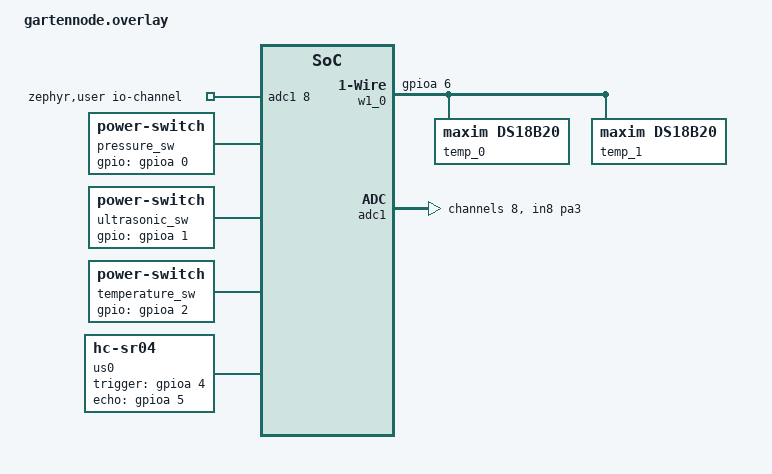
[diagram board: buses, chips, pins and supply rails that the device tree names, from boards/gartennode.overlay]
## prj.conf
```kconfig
# Print a banner on the UART on startup.
CONFIG_BOOT_BANNER=y

CONFIG_LOG=y
CONFIG_LOG_BACKEND_UART=y
CONFIG_CANOPEN_LOG_LEVEL_DBG=y
CONFIG_MULTITHREADING=y

CONFIG_GPIO=y
CONFIG_ADC=y
CONFIG_SENSOR=y
CONFIG_W1=y
CONFIG_HC_SR04=y

CONFIG_CAN=y
#CONFIG_CAN_MAX_FILTER=13

CONFIG_MAIN_STACK_SIZE=2048

CONFIG_CANOPEN=y
CONFIG_CANOPENNODE=y
CONFIG_CANOPENNODE_SYNC_THREAD=y
CONFIG_CANOPENNODE_STORAGE=y
CONFIG_CANOPENNODE_LEDS=y
CONFIG_CANOPENNODE_PROGRAM_DOWNLOAD=y
CONFIG_CANOPEN_NODE_ID=12

CONFIG_LOG_PRINTK=y
CONFIG_REBOOT=y
CONFIG_UART_CONSOLE=y
CONFIG_SERIAL=y
CONFIG_CONSOLE=y
# Enable Zephyr application to be booted by MCUboot
CONFIG_BOOTLOADER_MCUBOOT=y

# Use the default MCUBoot PEM key file (BOOT_SIGNATURE_KEY_FILE)
CONFIG_MCUBOOT_SIGNATURE_KEY_FILE="bootloader/mcuboot/gartennode.pem"
```

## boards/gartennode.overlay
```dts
/*
 * Copyright (c) 2022 Google LLC.
 *
 * SPDX-License-Identifier: Apache-2.0
 */

/ {
	zephyr,user {
		io-channels = <&adc1 8>;
	};

	pressure_sw: pressure_sw {
		compatible = "power-switch";
		/* using built-in LED pin for demonstration */
		gpios = <&gpioa 0 (GPIO_PULL_DOWN | GPIO_ACTIVE_HIGH)>;
        status = "okay";
	};

	ultrasonic_sw: ultrasonic_sw {
		compatible = "power-switch";
		/* using built-in LED pin for demonstration */
		gpios = <&gpioa 1 (GPIO_PULL_DOWN | GPIO_ACTIVE_HIGH)>;
        status = "okay";
	};

	temperature_sw: temperature_sw {
		compatible = "power-switch";
		/* using built-in LED pin for demonstration */
		gpios = <&gpioa 2 (GPIO_PULL_DOWN | GPIO_ACTIVE_HIGH)>;
        status = "okay";
	};

	aliases {
		green-led = &green_led;
	};
    us0: HC-SR04 {
        compatible = "hc-sr04";
        trigger-gpios = <&gpioa 4 GPIO_ACTIVE_HIGH>;
        echo-gpios = <&gpioa 5 (GPIO_PULL_DOWN | GPIO_ACTIVE_HIGH)>;
        status = "okay";
    };
	w1_0: w1-zephyr-gpio-0 {
		compatible = "zephyr,w1-gpio";
		gpios = <&gpioa 6 (GPIO_ACTIVE_HIGH|GPIO_OPEN_DRAIN|GPIO_PULL_UP)>;
		status = "okay";

		temp_0: ds18b200 {
			compatible = "maxim,ds18b20";
			family-code = <0x28>;
			resolution = <12>;
			status = "okay";
		};
		temp_1: ds18b201 {
			compatible = "maxim,ds18b20";
			family-code = <0x28>;
			resolution = <12>;
			status = "okay";
		};
	};
};

&adc1 {
	#address-cells = <1>;
	#size-cells = <0>;

	/* pinctrl-0 = <&adc1_in5_pa0 &adc1_in6_pa1 &adc1_in7_pa2 &adc1_in8_pa3 &adc1_in9_pa4 &adc1_in10_pa5 &adc1_in11_pa6 &adc1_in12_pa7>; */
	pinctrl-0 = <&adc1_in8_pa3>;
	pinctrl-names = "default";
	st,adc-clock-source = "SYNC";
	st,adc-prescaler = <4>;
	status = "okay";

	channel@8 {
		reg = <8>;
		zephyr,gain = "ADC_GAIN_1";
		zephyr,reference = "ADC_REF_INTERNAL";
		zephyr,acquisition-time = <ADC_ACQ_TIME_DEFAULT>;
		zephyr,resolution = <12>;
	};
};
```

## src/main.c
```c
/*
 * Copyright (c) 2019 Vestas Wind Systems A/S
 *
 * SPDX-License-Identifier: Apache-2.0
 */

#include <zephyr/kernel.h>
#include <zephyr/drivers/gpio.h>
#include <zephyr/sys/reboot.h>
#include <zephyr/drivers/adc.h>
#include <zephyr/settings/settings.h>
#include <zephyr/drivers/sensor.h>
#include <zephyr/drivers/sensor/w1_sensor.h>
#include <zephyr/storage/flash_map.h>
#include <zephyr/sys/printk.h>
#include <canopennode.h>

#define LOG_LEVEL CONFIG_CANOPEN_LOG_LEVEL
#include <zephyr/logging/log.h>
LOG_MODULE_REGISTER(app);


#if !DT_NODE_EXISTS(DT_NODELABEL(pressure_sw))
#error "Overlay for pressure_sw output node not properly defined."
#endif
#if !DT_NODE_EXISTS(DT_NODELABEL(ultrasonic_sw))
#error "Overlay for pressure_sw output node not properly defined."
#endif
#if !DT_NODE_EXISTS(DT_NODELABEL(temperature_sw))
#error "Overlay for pressure_sw output node not properly defined."
#endif

static const struct gpio_dt_spec pressure_sw =
	GPIO_DT_SPEC_GET_OR(DT_NODELABEL(pressure_sw), gpios, {0});
static const struct gpio_dt_spec ultrasonic_sw =
	GPIO_DT_SPEC_GET_OR(DT_NODELABEL(ultrasonic_sw), gpios, {0});
static const struct gpio_dt_spec temperature_sw =
	GPIO_DT_SPEC_GET_OR(DT_NODELABEL(temperature_sw), gpios, {0});


void us_pressure_func(void *d0, void *d1, void *d2);
void us_ultrasonic_func(void *d0, void *d1, void *d2);
void us_temperature_func(void *d0, void *d1, void *d2);
int pressure_enable(uint8_t value);
int ultrasonic_enable(uint8_t value);
int temperature_enable(uint8_t value);

#define US_PRESSURE_STACK 1024
#define US_ULTRASONIC_STACK 1024
#define US_TEMPERATURE_STACK 1024

static bool us_pressure_loop = false;
static bool us_ultrasonic_loop = false;
static bool us_temperature_loop = false;
K_THREAD_STACK_DEFINE(us_pressure_stack_area, US_PRESSURE_STACK);
K_THREAD_STACK_DEFINE(us_ultrasonic_stack_area, US_ULTRASONIC_STACK);
K_THREAD_STACK_DEFINE(us_temperature_stack_area, US_TEMPERATURE_STACK);
static _thread_t us_pressure_thread;
static _thread_t us_ultrasonic_thread;
static _thread_t us_temperature_thread;
static k_tid_t us_pressure_tid;
static k_tid_t us_ultrasonic_tid;
static k_tid_t us_temperature_tid;
static uint32_t pressure_value = 0;
static uint32_t ultrasonic_value = 0;
static int32_t temperature_value[ODL_temperatureValue_arrayLength] = {0};

#define DT_SPEC_AND_COMMA(node_id, prop, idx) \
	ADC_DT_SPEC_GET_BY_IDX(node_id, idx),

static const struct adc_dt_spec adc_channels[] = {
	DT_FOREACH_PROP_ELEM(DT_PATH(zephyr_user), io_channels,
			     DT_SPEC_AND_COMMA)
};

#define STORAGE_PARTITION	storage_partition
#define STORAGE_PARTITION_ID	FIXED_PARTITION_ID(STORAGE_PARTITION)

#define CAN_INTERFACE DEVICE_DT_GET(DT_CHOSEN(zephyr_canbus))
#define CAN_BITRATE (DT_PROP_OR(DT_CHOSEN(zephyr_canbus), bitrate, \
					  DT_PROP_OR(DT_CHOSEN(zephyr_canbus), bus_speed, \
						     CONFIG_CAN_DEFAULT_BITRATE)) / 1000)

static struct gpio_dt_spec led_green_gpio = GPIO_DT_SPEC_GET_OR(
		DT_ALIAS(green_led), gpios, {0});
static struct gpio_dt_spec led_red_gpio = GPIO_DT_SPEC_GET_OR(
		DT_ALIAS(red_led), gpios, {0});

struct led_indicator {
	const struct device *dev;
	gpio_pin_t pin;
};

/**
 * @brief Watchdog callback function
 *
 * @param channel_id Watchdog channel ID
 * @param user_data Pointer to user data (thread ID)
 */
static void main_watchdog_callback(int channel_id, void *user_data)
{
    LOG_ERR("Watchdog channel %d callback, user data: %p",
        channel_id, k_thread_name_get((k_tid_t)user_data));
	sys_reboot(SYS_REBOOT_COLD);
}

/**
 * @brief Callback for setting LED indicator state.
 *
 * @param value true if the LED indicator shall be turned on, false otherwise.
 * @param arg argument that was passed when LEDs were initialized.
 */
static void led_callback(bool value, void *arg)
{
	struct gpio_dt_spec *led_gpio = arg;

	if (!led_gpio || !led_gpio->port) {
		return;
	}

	gpio_pin_set_dt(led_gpio, value);
}

/**
 * @brief Configure LED indicators pins and callbacks.
 *
 * This routine configures the GPIOs for the red and green LEDs (if
 * available).
 *
 * @param nmt CANopenNode NMT object.
 */
static void config_leds(CO_NMT_t *nmt)
{
	int err;

	if (!led_green_gpio.port) {
		LOG_INF("Green LED not available");
	} else if (!gpio_is_ready_dt(&led_green_gpio)) {
		LOG_ERR("Green LED device not ready");
		led_green_gpio.port = NULL;
	} else {
		err = gpio_pin_configure_dt(&led_green_gpio,
					    GPIO_OUTPUT_INACTIVE);
		if (err) {
			LOG_ERR("failed to configure Green LED gpio: %d", err);
			led_green_gpio.port = NULL;
		}
	}

	if (!led_red_gpio.port) {
		LOG_INF("Red LED not available");
	} else if (!gpio_is_ready_dt(&led_red_gpio)) {
		LOG_ERR("Red LED device not ready");
		led_red_gpio.port = NULL;
	} else {
		err = gpio_pin_configure_dt(&led_red_gpio,
					    GPIO_OUTPUT_INACTIVE);
		if (err) {
			LOG_ERR("failed to configure Red LED gpio: %d", err);
			led_red_gpio.port = NULL;
		}
	}

	canopen_leds_init(nmt,
			  led_callback, &led_green_gpio,
			  led_callback, &led_red_gpio);
}

/**
 * @brief Configure LED indicators pins and callbacks.
 *
 * This routine configures the GPIOs for the red and green LEDs (if
 * available).
 *
 * @param nmt CANopenNode NMT object.
 */
static void config_powerstates()
{
	int err;
	if (!gpio_is_ready_dt(&pressure_sw)) {
		LOG_ERR("The pressure switch pin GPIO port is not ready.\n");
		return; // CO_SDO_AB_GENERAL;
	}
	err = gpio_pin_configure_dt(&pressure_sw, GPIO_OUTPUT_INACTIVE);
	if (err != 0) {
		LOG_ERR("Configuring pressure switch GPIO pin failed: %d\n", err);
		return; // CO_SDO_AB_GENERAL;
	}
	if (!gpio_is_ready_dt(&ultrasonic_sw)) {
		LOG_ERR("The ultrasonic switch pin GPIO port is not ready.\n");
		return; // CO_SDO_AB_GENERAL;
	}
	err = gpio_pin_configure_dt(&ultrasonic_sw, GPIO_OUTPUT_INACTIVE);
	if (err != 0) {
		LOG_ERR("Configuring ultrasonic switch GPIO pin failed: %d\n", err);
		return; // CO_SDO_AB_GENERAL;
	}
	if (!gpio_is_ready_dt(&temperature_sw)) {
		LOG_ERR("The temperature switch pin GPIO port is not ready.\n");
		return; // CO_SDO_AB_GENERAL;
	}
	err = gpio_pin_configure_dt(&temperature_sw, GPIO_OUTPUT_INACTIVE);
	if (err != 0) {
		LOG_ERR("Configuring temperature switch GPIO pin failed: %d\n", err);
		return; // CO_SDO_AB_GENERAL;
	}
}

void us_pressure_func(void *d0, void *d1, void *d2) {
	int err;
	uint32_t channel = 0;
	uint16_t buf;
	struct adc_sequence sequence = {
		.buffer = &buf,
		.buffer_size = sizeof(buf),
	};

	if (!adc_is_ready_dt(&adc_channels[channel])) {
		LOG_INF("ADC controller device %s not ready\n", adc_channels[channel].dev->name);
		return;
	}
	err = adc_channel_setup_dt(&adc_channels[channel]);
	if (err < 0) {
		LOG_INF("Could not setup channel #%d (%d)\n", channel, err);
		return;
	}

    while(us_pressure_loop) {
		int32_t val_mv;
		(void)adc_sequence_init_dt(&adc_channels[channel], &sequence);
		err = adc_read_dt(&adc_channels[channel], &sequence);
		if (err < 0) {
			LOG_INF("Could not read (%d)\n", err);
			continue;
		}
		val_mv = (int32_t)buf;
		LOG_INF("%"PRId32, val_mv);

		if (pressure_value != (uint32_t)(buf)) {
			pressure_value = (uint32_t)(buf);
			CO_LOCK_OD();
			OD_pressureMeasurement = pressure_value;
			CO_UNLOCK_OD();
		}
		if (OD_pressureDistanceMax != 0) {
			CO_LOCK_OD();
			OD_pressureDistance = (uint32_t)(OD_pressureDistanceMax/4096*OD_pressureMeasurement);
			CO_UNLOCK_OD();
		}
        k_sleep(K_MSEC(OD_pressurePeriode));
    }
}

void us_ultrasonic_func(void *d0, void *d1, void *d2) {

    int ret;
    struct sensor_value distance;
    const struct device *dev;
    dev = device_get_binding(DEVICE_DT_NAME(DT_NODELABEL(us0)));
    if (dev == NULL) {
        LOG_ERR("Failed to get HC-SR04 binding");
        return;
    }
    while(us_ultrasonic_loop) {
        ret = sensor_sample_fetch_chan(dev, SENSOR_CHAN_ALL);
        switch (ret) {
        case 0:
            ret = sensor_channel_get(dev, SENSOR_CHAN_DISTANCE, &distance);
            if (ret) {
                LOG_ERR("sensor_channel_get for HC-SR04 failed ret %d", ret);
                break;
            }
			if (ultrasonic_value != (uint32_t)((distance.val1*1000)+(distance.val2 / 1000))) {
				ultrasonic_value = (uint32_t)((distance.val1*1000)+(distance.val2 / 1000));
				CO_LOCK_OD();
				OD_ultrasonicDistance = ultrasonic_value;
				CO_UNLOCK_OD();
			}
            break;
        case -EIO:
            LOG_WRN("%s: Could not read device", dev->name);
            break;
        default:
            LOG_ERR("Error when reading device: %s", dev->name);
            break;
        }
        k_sleep(K_MSEC(OD_ultrasonicPeriode));
    }
}

void w1_search_callback(struct w1_rom rom, void *user_data)
{
	LOG_INF("Device found; family: 0x%02x, serial: 0x%016llx", rom.family,
		w1_rom_to_uint64(&rom));
}

void us_temperature_func(void *d0, void *d1, void *d2) {
    const struct device *dev[2];
	struct w1_rom w1rom[2];
	struct sensor_value temp;
	struct sensor_value value[2];
    dev[0] = device_get_binding(DEVICE_DT_NAME(DT_NODELABEL(temp_0)));
    dev[1] = device_get_binding(DEVICE_DT_NAME(DT_NODELABEL(temp_1)));

	// const struct device *w1_dev = device_get_binding(DEVICE_DT_NAME(DT_NODELABEL(w1_0)));
	// if (!device_is_ready(w1_dev)) {
	// 	LOG_ERR("Device not ready");
	// 	return;
	// }
	// int num_devices = w1_search_rom(w1_dev, w1_search_callback, NULL);
	// LOG_INF("Number of devices found on bus: %d", num_devices);

	uint64_t rom_address[2] = {0x281e1a4398230066,0x2872f7e062200123};
    if (dev[0]==NULL || !device_is_ready(dev[0])) {
        LOG_ERR("Failed to initialize temp_0");
    }else{
		w1_uint64_to_rom(rom_address[0], &w1rom[0]);
		w1_rom_to_sensor_value(&w1rom[0], &value[0]);
	}
    if (dev[1]==NULL || !device_is_ready(dev[1])) {
        LOG_ERR("Failed to initialize temp_1");
    }else{
		w1_uint64_to_rom(rom_address[1], &w1rom[1]);
		w1_rom_to_sensor_value(&w1rom[1], &value[1]);
	}
	// bool set_update = false;
    while(us_temperature_loop) {
		//set_update = false;
		for (int i=0;i<2;i++) {
			if (dev[i]==NULL) {
				continue;
			}
			sensor_attr_set(dev[i], SENSOR_CHAN_ALL, SENSOR_ATTR_W1_ROM, &value[i]);
			if (sensor_sample_fetch(dev[i]) < 0) {
				LOG_INF("Failed to fetch data from temp_%d with ROM %llx.\n", i, rom_address[i]);
			} else {
				sensor_channel_get(dev[i], SENSOR_CHAN_AMBIENT_TEMP, &temp);
				LOG_INF("Temperature temp from temp_%d at ROM %llx: %d.%06d°C\n", i, rom_address[i], temp.val1, temp.val2);
				temperature_value[i] = (int16_t)((temp.val1*1000)+(temp.val2 / 1000));
				//set_update = true;
				CO_LOCK_OD();
				OD_temperatureValue[i] = temperature_value[i];
				CO_UNLOCK_OD();
			}
		}
		// if (set_update == true) {
		// 	temperature_update = true;
		// }
        k_sleep(K_MSEC(OD_temperaturePeriode));
    }
}

// Enable pressure thread
static CO_SDO_abortCode_t odf_2102(CO_ODF_arg_t *odf_arg)
{
	uint8_t value;

	value = *(odf_arg->data);
	
	if (!pressure_enable(value)) {
		return CO_SDO_AB_GENERAL;
	}
	return CO_SDO_AB_NONE;
}

// Enable ultrasonic thread
static CO_SDO_abortCode_t odf_2107(CO_ODF_arg_t *odf_arg)
{
	uint8_t value;

	value = *(odf_arg->data);

	if (!ultrasonic_enable(value)) {
		return CO_SDO_AB_GENERAL;
	}
    return CO_SDO_AB_NONE;
}

// Enable temperature thread
static CO_SDO_abortCode_t odf_2110(CO_ODF_arg_t *odf_arg)
{
	uint8_t value;

	value = *(odf_arg->data);
	
	if (!temperature_enable(value)) {
		return CO_SDO_AB_GENERAL;
	}
    return CO_SDO_AB_NONE;
}

int pressure_enable(uint8_t value)
{
	int err;

	if (!gpio_is_ready_dt(&pressure_sw)) {
		LOG_ERR("The pressure switch pin GPIO port is not ready.\n");
		return -1;
	}
    if (value != 0) {
		err = gpio_pin_set_dt(&pressure_sw, 1);
		if (err != 0) {
			LOG_ERR("Configuring pressure switch GPIO pin failed: %d\n", err);
    		return -1;
		}
		us_pressure_loop = true;
		us_pressure_tid = k_thread_create(&us_pressure_thread, us_pressure_stack_area,
                                 K_THREAD_STACK_SIZEOF(us_pressure_stack_area),
                                 us_pressure_func,
                                 NULL, NULL, NULL,
                                 K_LOWEST_APPLICATION_THREAD_PRIO, 0, K_NO_WAIT);
	} else {
		us_pressure_loop = false;
		err = gpio_pin_set_dt(&pressure_sw, 0);
		if (err != 0) {
			LOG_ERR("Setting pressure switch GPIO pin level failed: %d\n", err);
    		return -1;
		}
    }
	return 0;
}

int ultrasonic_enable(uint8_t value)
{
	int err;

	if (!gpio_is_ready_dt(&ultrasonic_sw)) {
		LOG_ERR("The ultrasonic switch pin GPIO port is not ready.\n");
		return -1;
	}
    if (value != 0) {
		err = gpio_pin_set_dt(&ultrasonic_sw, 1);
		if (err != 0) {
			LOG_ERR("Configuring ultrasonic switch GPIO pin failed: %d\n", err);
    		return -1;
		}
		us_ultrasonic_loop = true;
		us_ultrasonic_tid = k_thread_create(&us_ultrasonic_thread, us_ultrasonic_stack_area,
                                 K_THREAD_STACK_SIZEOF(us_ultrasonic_stack_area),
                                 us_ultrasonic_func,
                                 NULL, NULL, NULL,
                                 K_LOWEST_APPLICATION_THREAD_PRIO, 0, K_NO_WAIT);
	} else {
		us_ultrasonic_loop = false;
		err = gpio_pin_set_dt(&ultrasonic_sw, 0);
		if (err != 0) {
			LOG_ERR("Setting ultrasonic switch GPIO pin level failed: %d\n", err);
    		return -1;
		}
    }
    return 0;
}

int temperature_enable(uint8_t value)
{
	int err;
	
	if (!gpio_is_ready_dt(&temperature_sw)) {
		LOG_ERR("The temperature switch pin GPIO port is not ready.\n");
		return -1;
	}
    if (value != 0) {
		err = gpio_pin_set_dt(&temperature_sw, 1);
		if (err != 0) {
			LOG_ERR("Configuring temperature switch GPIO pin failed: %d\n", err);
    		return -1;
		}
		us_temperature_loop = true;
		us_temperature_tid = k_thread_create(&us_temperature_thread, us_temperature_stack_area,
                                 K_THREAD_STACK_SIZEOF(us_temperature_stack_area),
                                 us_temperature_func,
                                 NULL, NULL, NULL,
                                 K_LOWEST_APPLICATION_THREAD_PRIO, 0, K_NO_WAIT);
	} else {
		us_temperature_loop = false;
		err = gpio_pin_set_dt(&temperature_sw, 0);
		if (err != 0) {
			LOG_ERR("Setting temperature switch GPIO pin level failed: %d\n", err);
    		return -1;
		}
    }
    return 0;
}
/**
 * @brief Main application entry point.
 *
 * The main application thread is responsible for initializing the
 * CANopen stack and doing the non real-time processing.
 */
int main(void)
{
	CO_NMT_reset_cmd_t reset = CO_RESET_NOT;
	CO_ReturnError_t err;
	struct canopen_context can;
	uint16_t timeout;
	uint32_t elapsed;
	int64_t timestamp;
#ifdef CONFIG_CANOPENNODE_STORAGE
	int ret;
#endif /* CONFIG_CANOPENNODE_STORAGE */

	can.dev = CAN_INTERFACE;
	if (!device_is_ready(can.dev)) {
		LOG_ERR("CAN interface not ready");
		return 0;
	}

#ifdef CONFIG_CANOPENNODE_STORAGE
	LOG_INF("Initializing settings subsystem\n");
	ret = settings_subsys_init();
	if (ret) {
		LOG_ERR("failed to initialize settings subsystem (err = %d)",
			ret);
		int error = 0;
		const struct flash_area *storage = NULL;
		// Open the partition
		error = flash_area_open(PARTITION_ID(storage_partition), &storage);
		if (error < 0) {
			return error;
		}

		// Erase the first sector (e.g., 4KB)
		error = flash_area_erase(storage, 0, PARTITION_SIZE(storage_partition));
		if (error < 0) {
			return error;
		}
		sys_reboot(SYS_REBOOT_COLD);
	}

	ret = settings_load();
	if (ret) {
		LOG_ERR("failed to load settings (err = %d)", ret);
		return 0;
	}
#endif /* CONFIG_CANOPENNODE_STORAGE */

	OD_powerOnCounter++;

	while (reset != CO_RESET_APP) {
		elapsed =  0U; /* milliseconds */

		LOG_INF("CANopen stack initialize");
		err = CO_init(&can, CONFIG_CANOPEN_NODE_ID, CAN_BITRATE);
		if (err != CO_ERROR_NO) {
			LOG_ERR("CO_init failed (err = %d)", err);
			return 0;
		}
		LOG_INF("CANopen stack initialized");

#ifdef CONFIG_CANOPENNODE_STORAGE
		canopen_storage_attach(CO->SDO[0], CO->em);
#endif /* CONFIG_CANOPENNODE_STORAGE */

		config_leds(CO->NMT);
		config_powerstates();
		CO_OD_configure(CO->SDO[0], OD_2102_pressureEnable,
				odf_2102, NULL, 0U, 0U);
		CO_OD_configure(CO->SDO[0], OD_2107_ultrasonicEnable,
				odf_2107, NULL, 0U, 0U);
		CO_OD_configure(CO->SDO[0], OD_2110_temperatureEnable,
				odf_2110, NULL, 0U, 0U);

		if (IS_ENABLED(CONFIG_CANOPENNODE_PROGRAM_DOWNLOAD)) {
			canopen_program_download_attach(CO->NMT, CO->SDO[0],
							CO->em);
		}

		pressure_enable(OD_pressureEnable);
		ultrasonic_enable(OD_ultrasonicEnable);
		temperature_enable(OD_temperatureEnable);

		CO_CANsetNormalMode(CO->CANmodule[0]);
		struct sCO_OD_EEPROM eeprom_old = CO_OD_EEPROM;

		while (true) {
			timeout = 1U; /* default timeout in milliseconds */
			timestamp = k_uptime_get();
			reset = CO_process(CO, (uint16_t)elapsed, &timeout);

			if (reset != CO_RESET_NOT) {
				break;
			}

			if (timeout > 0) {
#ifdef CONFIG_CANOPENNODE_STORAGE
				ret = memcmp(&eeprom_old, &CO_OD_EEPROM, sizeof(CO_OD_EEPROM));
				if (ret != 0) {
					LOG_DBG("EEPROM changed, saving to flash");
					memcpy(&eeprom_old, &CO_OD_EEPROM, sizeof(CO_OD_EEPROM));
					ret = canopen_storage_save(
						CANOPEN_STORAGE_EEPROM);
					if (ret) {
						LOG_ERR("failed to save EEPROM");
					}
				}
#endif /* CONFIG_CANOPENNODE_STORAGE */
				/*
				 * Try to sleep for as long as the
				 * stack requested and calculate the
				 * exact time elapsed.
				 */
				k_sleep(K_MSEC(timeout));
				elapsed = (uint32_t)k_uptime_delta(&timestamp);
			} else {
				/*
				 * Do not sleep, more processing to be
				 * done by the stack.
				 */
				elapsed = 0U;
			}
		}

        us_pressure_loop = false;
        us_ultrasonic_loop = false;
        us_temperature_loop = false;

		if (reset == CO_RESET_COMM) {
			LOG_INF("Resetting communication");
		}
	}

	LOG_INF("Resetting device");

	CO_delete(&can);
	sys_reboot(SYS_REBOOT_COLD);
}
```
